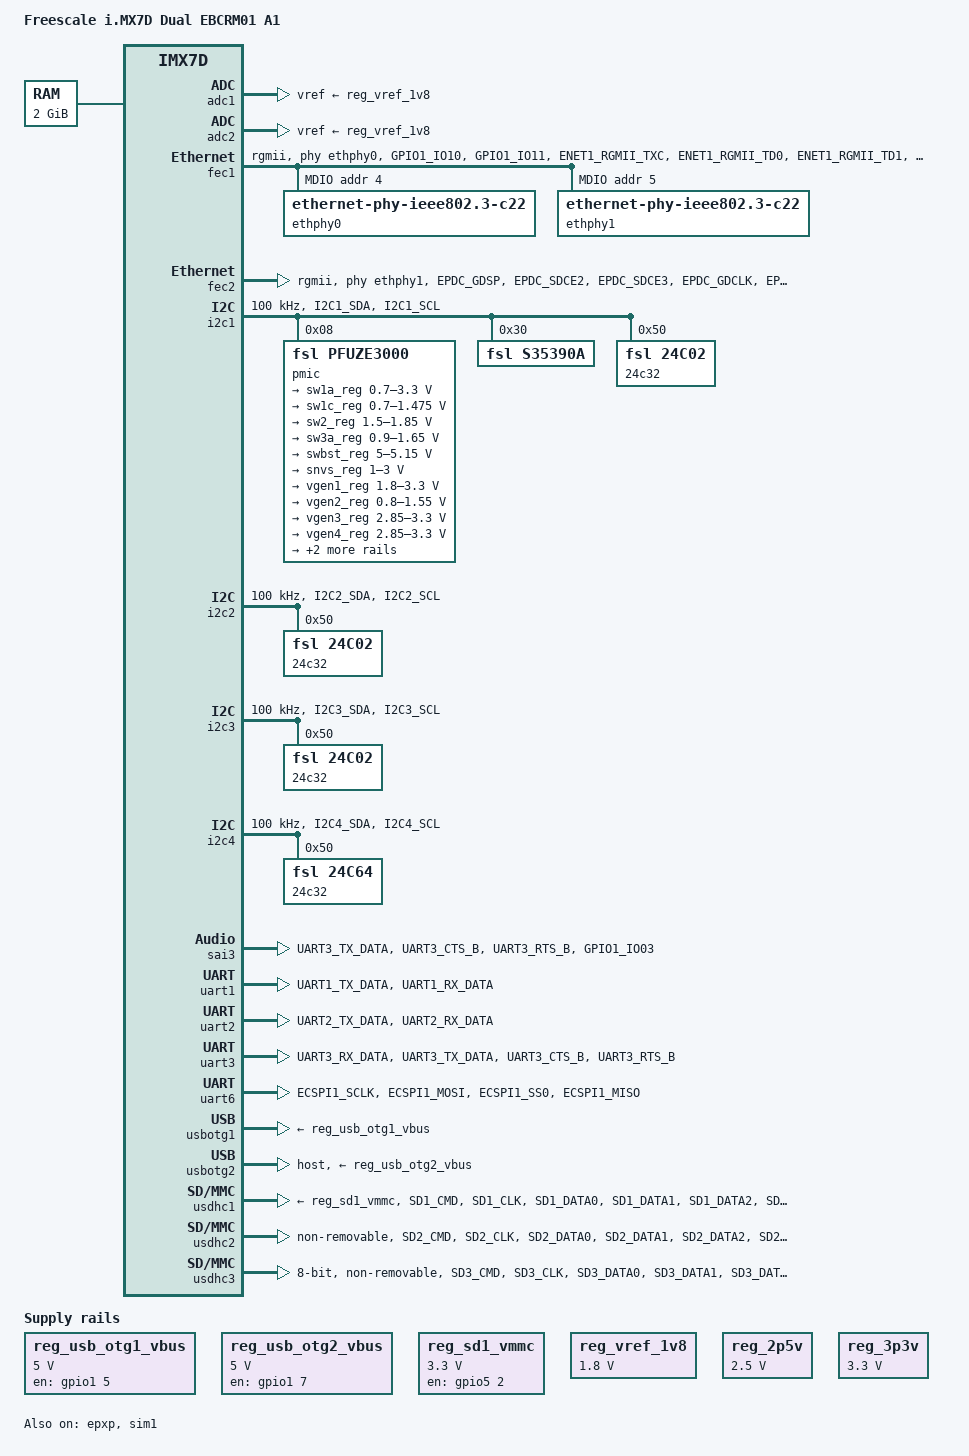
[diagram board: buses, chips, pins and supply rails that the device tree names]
/*
 * Copyright (C) 2015 Freescale Semiconductor, Inc.
 *
 * This program is free software; you can redistribute it and/or modify
 * it under the terms of the GNU General Public License version 2 as
 * published by the Free Software Foundation.
 */

/dts-v1/;

#include <dt-bindings/input/input.h>
#include "imx7d.dtsi"

/ {
	model = "Freescale i.MX7D Dual EBCRM01 A1";
	compatible = "fsl,imx7d-sdb", "fsl,imx7d";

	board {
		compatible = "proc-board";
		board-type = "EBC-RM01 A1";
		board-cpu = "DualQuad";
	};

	memory {
		reg = <0x80000000 0x80000000>;
	};

/*
	bcmdhd_wlan_0: bcmdhd_wlan@0 {
		compatible = "android,bcmdhd_wlan";
		gpios = <&gpio4 20 0>;		//WL_HOST_WAKE
		wlreg_on-supply = <&wlreg_on>;
	};
*/

/*
	spi4 {
		compatible = "spi-gpio";
		pinctrl-names = "default";
		pinctrl-0 = <&pinctrl_spi1>;
		status = "okay";
		gpio-sck = <&gpio1 13 0>;
		// gpio-mosi = <&gpio1 9 0>;
		cs-gpios = <&gpio1 12 0>;
		num-chipselects = <1>;
		#address-cells = <1>;
		#size-cells = <0>;

		gpio_spi: gpio_spi@0 {
			compatible = "fairchild,74hc595";
			gpio-controller;
			#gpio-cells = <2>;
			reg = <0>;
			registers-number = <1>;
			registers-default = /bits/ 8 <0x74>; // Enable PERI_3V3, SENSOR_RST_B and HDMI_RST
			spi-max-frequency = <100000>;
		};
	};
*/

	regulators {
		compatible = "simple-bus";
		#address-cells = <1>;
		#size-cells = <0>;

		reg_usb_otg1_vbus: regulator@0 {
			compatible = "regulator-fixed";
			reg = <0>;
			regulator-name = "usb_otg1_vbus";
			regulator-min-microvolt = <5000000>;
			regulator-max-microvolt = <5000000>;
			gpio = <&gpio1 5 GPIO_ACTIVE_HIGH>;
			enable-active-high;
		};

		reg_usb_otg2_vbus: regulator@1 {
			compatible = "regulator-fixed";
			reg = <1>;
			regulator-name = "usb_otg2_vbus";
			regulator-min-microvolt = <5000000>;
			regulator-max-microvolt = <5000000>;
			gpio = <&gpio1 7 GPIO_ACTIVE_HIGH>;
			enable-active-high;
		};

		reg_sd1_vmmc: regulator@3 {
			compatible = "regulator-fixed";
			regulator-name = "VDD_SD1";
			regulator-min-microvolt = <3300000>;
			regulator-max-microvolt = <3300000>;
			gpio = <&gpio5 2 GPIO_ACTIVE_HIGH>;
			startup-delay-us = <200000>;
			enable-active-high;
		};

		reg_vref_1v8: regulator@5 {
			compatible = "regulator-fixed";
			reg = <5>;
			regulator-name = "vref-1v8";
			regulator-min-microvolt = <1800000>;
			regulator-max-microvolt = <1800000>;
		};

/*
		wlreg_on: fixedregulator@100 {
			compatible = "regulator-fixed";
			regulator-min-microvolt = <5000000>;
			regulator-max-microvolt = <5000000>;
			regulator-name = "wlreg_on";
			gpio = <&gpio4 21 GPIO_ACTIVE_HIGH>;
			startup-delay-us = <100>;
			enable-active-high;
		};
*/
		reg_2p5v: 2p5v {
			compatible = "regulator-fixed";
			regulator-name = "2P5V";
			regulator-min-microvolt = <2500000>;
			regulator-max-microvolt = <2500000>;
			regulator-always-on;
		};

		reg_3p3v: 3p3v {
			compatible = "regulator-fixed";
			regulator-name = "3P3V";
			regulator-min-microvolt = <3300000>;
			regulator-max-microvolt = <3300000>;
			regulator-always-on;
		};
	};

/*
	audio_sgtl5000: sound {
		compatible = "fsl,sgtl5000",
			     "fsl,imx-audio-sgtl5000";
		model = "sgtl5000";
		//ssi-controller = <&ssi2>; //need to modify
		audio-routing =
			"MIC_IN", "Mic Jack",
			"Mic Jack", "Mic Bias",
			"Headphone Jack", "HP_OUT";
		mux-int-port = <2>;
		mux-ext-port = <3>;
	};
*/

/*
	gpio_direction {
		pinctrl-names = "default";
		compatible = "gpio-set-direction";
		pinctrl-0 = <&pinctrl_gpioctrl>;
		gpio-resetcb = <&gpio1 9 1>;
		gpio-gpio0 = <&gpio1 12 0>;
		gpio-gpio1 = <&gpio1 13 0>;
		//status = "okay";
		status = "disabled";
	};
*/
};

/*
//need to modify
&ssi2 {
	status = "okay";
};
*/

/*
&audio_sgtl5000 {
	audio-codec = <&codec>;
};
*/

&adc1 {
	vref-supply = <&reg_vref_1v8>;
	status = "okay";
};

&adc2 {
	vref-supply = <&reg_vref_1v8>;
	status = "okay";
};

&cpu0 {
	arm-supply = <&sw1a_reg>;
};

&clks {
	assigned-clocks = <&clks IMX7D_PLL_AUDIO_POST_DIV>;
	assigned-clock-rates = <884736000>;
};

&epxp {
	status = "okay";
};

&ecspi3 {
	fsl,spi-num-chipselects = <1>;
	pinctrl-names = "default";
	pinctrl-0 = <&pinctrl_ecspi3 &pinctrl_ecspi3_cs>;
	cs-gpios = <&gpio5 9 0>;
	/* status = "okay"; */
	status = "disabled";

	tsc2046 {
		compatible = "ti,tsc2046";
		reg = <0>;
		spi-max-frequency = <1000000>;
		pinctrl-names ="default";
		pinctrl-0 = <&pinctrl_tsc2046_pendown>;
		interrupt-parent = <&gpio2>;
		interrupts = <29 0>;
		pendown-gpio = <&gpio2 29 0>;
		ti,x-min = /bits/ 16 <0>;
		ti,x-max = /bits/ 16 <0>;
		ti,y-min = /bits/ 16 <0>;
		ti,y-max = /bits/ 16 <0>;
		ti,pressure-max = /bits/ 16 <0>;
		ti,x-plat-ohms = /bits/ 16 <400>;
		linux,wakeup;
	};
};

&fec1 {
	pinctrl-names = "default";
	pinctrl-0 = <&pinctrl_enet1 &pinctrl_enet1_rst_1>;
	// pinctrl-assert-gpios = <&gpio_spi 5 GPIO_ACTIVE_HIGH>;
	pinctrl-assert-gpios = <&gpio2 28 GPIO_ACTIVE_HIGH>;
	assigned-clocks = <&clks IMX7D_ENET1_TIME_ROOT_SRC>,
			  <&clks IMX7D_ENET1_TIME_ROOT_CLK>;
	assigned-clock-parents = <&clks IMX7D_PLL_ENET_MAIN_100M_CLK>;
	assigned-clock-rates = <0>, <100000000>;
	phy-mode = "rgmii";
	phy-handle = <&ethphy0>;
	fsl,magic-packet;
	status = "okay";

	mdio {
		#address-cells = <1>;
		#size-cells = <0>;

		ethphy0: ethernet-phy@4 {
			compatible = "ethernet-phy-ieee802.3-c22";
			reg = <4>;
		};

		ethphy1: ethernet-phy@5 {
			compatible = "ethernet-phy-ieee802.3-c22";
			reg = <5>;
		};
	};
};

&fec2 {
	pinctrl-names = "default";
	//pinctrl-0 = <&pinctrl_enet2 &pinctrl_enet2_epdc0_en>;
	pinctrl-0 = <&pinctrl_enet2>;
	//pinctrl-assert-gpios = <&gpio1 4 GPIO_ACTIVE_LOW>;
	assigned-clocks = <&clks IMX7D_ENET2_TIME_ROOT_SRC>,
			  <&clks IMX7D_ENET2_TIME_ROOT_CLK>;
	assigned-clock-parents = <&clks IMX7D_PLL_ENET_MAIN_100M_CLK>;
	assigned-clock-rates = <0>, <100000000>;
	phy-mode = "rgmii";
	phy-handle = <&ethphy1>;
	fsl,magic-packet;
	status = "okay";
};

&i2c1 {
	clock-frequency = <100000>;
	pinctrl-names = "default";
	pinctrl-0 = <&pinctrl_i2c1>;
	status = "okay";

	pmic: pfuze3000@08 {
		compatible = "fsl,pfuze3000";
		reg = <0x08>;

		regulators {
			sw1a_reg: sw1a {
				regulator-min-microvolt = <700000>;
				regulator-max-microvolt = <3300000>;
				regulator-boot-on;
				regulator-always-on;
				regulator-ramp-delay = <6250>;
			};

			/* use sw1c_reg to align with pfuze100/pfuze200 */
			sw1c_reg: sw1b {
				regulator-min-microvolt = <700000>;
				regulator-max-microvolt = <1475000>;
				regulator-boot-on;
				regulator-always-on;
				regulator-ramp-delay = <6250>;
			};

			sw2_reg: sw2 {
				regulator-min-microvolt = <1500000>;
				regulator-max-microvolt = <1850000>;
				regulator-boot-on;
				regulator-always-on;
			};

			sw3a_reg: sw3 {
				regulator-min-microvolt = <900000>;
				regulator-max-microvolt = <1650000>;
				regulator-boot-on;
				regulator-always-on;
			};

			swbst_reg: swbst {
				regulator-min-microvolt = <5000000>;
				regulator-max-microvolt = <5150000>;
			};

			snvs_reg: vsnvs {
				regulator-min-microvolt = <1000000>;
				regulator-max-microvolt = <3000000>;
				regulator-boot-on;
				regulator-always-on;
			};

			vref_reg: vrefddr {
				regulator-boot-on;
				regulator-always-on;
			};

			vgen1_reg: vldo1 {
				regulator-min-microvolt = <1800000>;
				regulator-max-microvolt = <3300000>;
				regulator-always-on;
			};

			vgen2_reg: vldo2 {
				regulator-min-microvolt = <800000>;
				regulator-max-microvolt = <1550000>;
				regulator-always-on;
			};

			vgen3_reg: vccsd {
				regulator-min-microvolt = <2850000>;
				regulator-max-microvolt = <3300000>;
				regulator-always-on;
			};

			vgen4_reg: v33 {
				regulator-min-microvolt = <2850000>;
				regulator-max-microvolt = <3300000>;
				regulator-always-on;
			};

			vgen5_reg: vldo3 {
				regulator-min-microvolt = <1800000>;
				regulator-max-microvolt = <3300000>;
				regulator-always-on;
			};

			vgen6_reg: vldo4 {
				regulator-min-microvolt = <1800000>;
				regulator-max-microvolt = <3300000>;
				regulator-always-on;
			};
		};
	};

/*
	codec: sgtl5000@0a {
		compatible = "fsl,sgtl5000";
		reg = <0x0a>;
		clocks = <&clks 201>;
		VDDA-supply = <&reg_2p5v>;
		VDDIO-supply = <&reg_3p3v>;
		mclk = <16000000>;
		mclk_source = <0>;
	};
*/

	s35390a@30 {
		compatible = "fsl,s35390a";
		reg = <0x30>;
	};

	24c32@50 {
		compatible = "fsl,24c02";
		reg = <0x50>;
	};
};

&i2c2 {
	clock-frequency = <100000>;
	pinctrl-names = "default";
	pinctrl-0 = <&pinctrl_i2c2>;
	status = "okay";

	24c32@50 {
		compatible = "fsl,24c02";
		reg = <0x50>;
	};
};

&i2c3 {
	clock-frequency = <100000>;
	pinctrl-names = "default";
	pinctrl-0 = <&pinctrl_i2c3>;
	status = "okay";

	24c32@50 {
		compatible = "fsl,24c02";
		reg = <0x50>;
	};
};

&i2c4 {
	clock-frequency = <100000>;
	pinctrl-names = "default";
	pinctrl-0 = <&pinctrl_i2c4>;
	status = "okay";

	24c32@50 {
		compatible = "fsl,24c64";
		pagesize = <32>;
		reg = <0x50>;
	};
};

&gpmi {
	pinctrl-names = "default";
	pinctrl-0 = <&pinctrl_gpmi_nand_1>;
	status = "disabled";
	nand-on-flash-bbt;
};

&iomuxc {
	pinctrl-names = "default";
	pinctrl-0 = <&pinctrl_hog_1 &pinctrl_hog_3>;

	imx7d-sdb {
		pinctrl_hog_1: hoggrp-1 {
			fsl,pins = <
				/* MX7D_PAD_ECSPI2_SS0__GPIO4_IO23	  0x19 */ /* BT_REG_ON */
				MX7D_PAD_ENET1_RX_CLK__GPIO7_IO13 0x59 /* WDT Enable */
				MX7D_PAD_ENET1_CRS__GPIO7_IO14 	  0x59 /* WDT Reset */
			>;
		};

		pinctrl_hog_3: hoggrp-3 { //alex
			fsl,pins = <
				MX7D_PAD_GPIO1_IO12__GPIO1_IO12		0x59	/* GPIO0 - GPIO0 */
				MX7D_PAD_GPIO1_IO13__GPIO1_IO13		0x59	/* GPIO1 - GPIO1 */
				MX7D_PAD_GPIO1_IO14__GPIO1_IO14		0x59	/* GPIO2 - GPIO2 */
				MX7D_PAD_GPIO1_IO15__GPIO1_IO15		0x59	/* GPIO3 - GPIO3 */
				/* GPIO4 - BOOT_CFG04 */
				/* GPIO5 - BOOT_CFG05 */
				/* GPIO6 - BOOT_CFG06 */
				MX7D_PAD_ECSPI2_SCLK__GPIO4_IO20	0x59	/* GPIO7  - GPIO7 */
				MX7D_PAD_ECSPI2_MISO__GPIO4_IO22	0x59	/* GPIO8  - GPIO8 */
				MX7D_PAD_ECSPI2_MOSI__GPIO4_IO21	0x59	/* GPIO9  - GPIO9 */
				MX7D_PAD_ECSPI2_SS0__GPIO4_IO23		0x59	/* GPIO10 - GPIO10 */
				/* GPIO11 - BOOT_CFG11 */
			>;
		};

/*
		pinctrl_epdc_elan_touch: epdc_elan_touch_grp {
			fsl,pins = <
				MX7D_PAD_SAI1_RX_DATA__GPIO6_IO12 0x59
				MX7D_PAD_SAI1_TX_DATA__GPIO6_IO15 0x1b
				MX7D_PAD_SAI1_TX_BCLK__GPIO6_IO13 0x80000000
			>;
		};

		pinctrl_mipi_dsi_reset: mipi_dsi_reset_grp {
			fsl,pins = <
				MX7D_PAD_SAI1_TX_DATA__GPIO6_IO15 0x1b
			>;
		};
*/

		pinctrl_ecspi3_cs: ecspi3_cs_grp {
			fsl,pins = <
				MX7D_PAD_SD2_CD_B__GPIO5_IO9	0x80000000
			>;
		};

		pinctrl_ecspi3: ecspi3grp {
			fsl,pins = <
				MX7D_PAD_SAI2_TX_SYNC__ECSPI3_MISO	0x2
				MX7D_PAD_SAI2_TX_BCLK__ECSPI3_MOSI	0x2
				MX7D_PAD_SAI2_RX_DATA__ECSPI3_SCLK	0x2
			>;
		};

		pinctrl_enet1: enet1grp {
			fsl,pins = <
				MX7D_PAD_GPIO1_IO10__ENET1_MDIO		0x3
				MX7D_PAD_GPIO1_IO11__ENET1_MDC		0x3
				MX7D_PAD_ENET1_RGMII_TXC__ENET1_RGMII_TXC	0x1
				MX7D_PAD_ENET1_RGMII_TD0__ENET1_RGMII_TD0	0x1
				MX7D_PAD_ENET1_RGMII_TD1__ENET1_RGMII_TD1	0x1
				MX7D_PAD_ENET1_RGMII_TD2__ENET1_RGMII_TD2	0x1
				MX7D_PAD_ENET1_RGMII_TD3__ENET1_RGMII_TD3	0x1
				MX7D_PAD_ENET1_RGMII_TX_CTL__ENET1_RGMII_TX_CTL	0x1
				MX7D_PAD_ENET1_RGMII_RXC__ENET1_RGMII_RXC	0x1
				MX7D_PAD_ENET1_RGMII_RD0__ENET1_RGMII_RD0	0x1
				MX7D_PAD_ENET1_RGMII_RD1__ENET1_RGMII_RD1	0x1
				MX7D_PAD_ENET1_RGMII_RD2__ENET1_RGMII_RD2	0x1
				MX7D_PAD_ENET1_RGMII_RD3__ENET1_RGMII_RD3	0x1
				MX7D_PAD_ENET1_RGMII_RX_CTL__ENET1_RGMII_RX_CTL	0x1
			>;
		};

		pinctrl_enet1_rst_1: enet1_rstgrp-1 {
			fsl,pins = <
				MX7D_PAD_EPDC_BDR0__GPIO2_IO28	0x59 /* RGMII_RST# */
			>;
		};

		pinctrl_enet2: enet2grp {
			fsl,pins = <
				MX7D_PAD_EPDC_GDSP__ENET2_RGMII_TXC		0x1
				MX7D_PAD_EPDC_SDCE2__ENET2_RGMII_TD0		0x1
				MX7D_PAD_EPDC_SDCE3__ENET2_RGMII_TD1		0x1
				MX7D_PAD_EPDC_GDCLK__ENET2_RGMII_TD2		0x1
				MX7D_PAD_EPDC_GDOE__ENET2_RGMII_TD3		0x1
				MX7D_PAD_EPDC_GDRL__ENET2_RGMII_TX_CTL		0x1
				MX7D_PAD_EPDC_SDCE1__ENET2_RGMII_RXC		0x1
				MX7D_PAD_EPDC_SDCLK__ENET2_RGMII_RD0		0x1
				MX7D_PAD_EPDC_SDLE__ENET2_RGMII_RD1		0x1
				MX7D_PAD_EPDC_SDOE__ENET2_RGMII_RD2		0x1
				MX7D_PAD_EPDC_SDSHR__ENET2_RGMII_RD3		0x1
				MX7D_PAD_EPDC_SDCE0__ENET2_RGMII_RX_CTL		0x1
			>;
		};

		pinctrl_gpmi_nand_1: gpmi-nand-1 {
			fsl,pins = <
				MX7D_PAD_SD3_CLK__NAND_CLE			0x71
				MX7D_PAD_SD3_CMD__NAND_ALE			0x71
				MX7D_PAD_SAI1_MCLK__NAND_WP_B		0x71
				MX7D_PAD_SAI1_TX_BCLK__NAND_CE0_B	0x71
				MX7D_PAD_SAI1_RX_DATA__NAND_CE1_B	0x71
				MX7D_PAD_SAI1_TX_DATA__NAND_READY_B	0x74
				MX7D_PAD_SD3_STROBE__NAND_RE_B		0x71
				MX7D_PAD_SD3_RESET_B__NAND_WE_B		0x71
				MX7D_PAD_SD3_DATA0__NAND_DATA00		0x71
				MX7D_PAD_SD3_DATA1__NAND_DATA01		0x71
				MX7D_PAD_SD3_DATA2__NAND_DATA02		0x71
				MX7D_PAD_SD3_DATA3__NAND_DATA03		0x71
				MX7D_PAD_SD3_DATA4__NAND_DATA04		0x71
				MX7D_PAD_SD3_DATA5__NAND_DATA05		0x71
				MX7D_PAD_SD3_DATA6__NAND_DATA06		0x71
				MX7D_PAD_SD3_DATA7__NAND_DATA07		0x71
			>;
		};

		pinctrl_i2c1: i2c1grp {
			fsl,pins = <
				MX7D_PAD_I2C1_SDA__I2C1_SDA	0x4000007f
				MX7D_PAD_I2C1_SCL__I2C1_SCL	0x4000007f
			>;
		};

		pinctrl_i2c2: i2c2grp {
			fsl,pins = <
				MX7D_PAD_I2C2_SDA__I2C2_SDA	0x4000007f
				MX7D_PAD_I2C2_SCL__I2C2_SCL	0x4000007f
			>;
		};

		pinctrl_i2c3: i2c3grp {
			fsl,pins = <
				MX7D_PAD_I2C3_SDA__I2C3_SDA	0x4000007f
				MX7D_PAD_I2C3_SCL__I2C3_SCL	0x4000007f
			>;
		};

		pinctrl_i2c4: i2c4grp {
			fsl,pins = <
				MX7D_PAD_I2C4_SDA__I2C4_SDA	0x4000007f
				MX7D_PAD_I2C4_SCL__I2C4_SCL	0x4000007f
			>;
		};

		pinctrl_sai1: sai1grp {
			fsl,pins = <
				MX7D_PAD_SAI1_MCLK__SAI1_MCLK           0x1f
				MX7D_PAD_ENET1_RX_CLK__SAI1_TX_BCLK     0x1f
				MX7D_PAD_ENET1_CRS__SAI1_TX_SYNC	0x1f
				MX7D_PAD_ENET1_COL__SAI1_TX_DATA0	0x30
				MX7D_PAD_ENET1_TX_CLK__SAI1_RX_DATA0	0x1f
			>;
		};

		pinctrl_sai2: sai2grp {
			fsl,pins = <
				MX7D_PAD_SAI2_TX_BCLK__SAI2_TX_BCLK     0x1f
				MX7D_PAD_SAI2_TX_SYNC__SAI2_TX_SYNC     0x1f
				MX7D_PAD_SAI2_TX_DATA__SAI2_TX_DATA0    0x30
				MX7D_PAD_SAI2_RX_DATA__SAI2_RX_DATA0    0x1f
			>;
		};

		pinctrl_sai3: sai3grp {
			fsl,pins = <
				MX7D_PAD_UART3_TX_DATA__SAI3_TX_BCLK   0x1f
				MX7D_PAD_UART3_CTS_B__SAI3_TX_SYNC     0x1f
				MX7D_PAD_UART3_RTS_B__SAI3_TX_DATA0    0x30
			>;
		};

/*
		pinctrl_spi1: spi1grp {
			fsl,pins = <
				MX7D_PAD_GPIO1_IO09__GPIO1_IO9	0x59
				MX7D_PAD_GPIO1_IO12__GPIO1_IO12	0x59
				MX7D_PAD_GPIO1_IO13__GPIO1_IO13	0x59
			>;
		};
*/

		pinctrl_sii902x: hdmigrp-1 {
			fsl,pins = <
				MX7D_PAD_EPDC_DATA13__GPIO2_IO13 0x59
			>;
		};

		pinctrl_sim1_1: sim1grp-1 {
			fsl,pins = <
				MX7D_PAD_EPDC_DATA10__SIM1_PORT1_RST_B 0x77
				MX7D_PAD_EPDC_DATA12__SIM1_PORT1_PD    0x77
				MX7D_PAD_EPDC_DATA11__SIM1_PORT1_SVEN  0x77
				MX7D_PAD_EPDC_DATA09__SIM1_PORT1_CLK   0x73
				MX7D_PAD_EPDC_DATA08__SIM1_PORT1_TRXD  0x73
			>;
		};

		pinctrl_tsc2046_pendown: tsc2046_pendown {
			fsl,pins = <
				MX7D_PAD_EPDC_BDR1__GPIO2_IO29		0x59
			>;
		};

		pinctrl_uart1: uart1grp {
			fsl,pins = <
				MX7D_PAD_UART1_TX_DATA__UART1_DCE_TX 0x79
				MX7D_PAD_UART1_RX_DATA__UART1_DCE_RX 0x79
			>;
		};

		pinctrl_uart2: uart2grp {
			fsl,pins = <
				MX7D_PAD_UART2_TX_DATA__UART2_DCE_TX 0x79
				MX7D_PAD_UART2_RX_DATA__UART2_DCE_RX 0x79
			>;
		};

		pinctrl_uart3: uart3grp {
			fsl,pins = <
				MX7D_PAD_UART3_RX_DATA__UART3_DCE_RX 0x79
				MX7D_PAD_UART3_TX_DATA__UART3_DCE_TX 0x79
				MX7D_PAD_UART3_CTS_B__UART3_DCE_CTS  0x79
				MX7D_PAD_UART3_RTS_B__UART3_DCE_RTS  0x79
			>;
		};

		pinctrl_uart6: uart6grp {
			fsl,pins = <
				MX7D_PAD_ECSPI1_SCLK__UART6_DCE_RX 0x79
				MX7D_PAD_ECSPI1_MOSI__UART6_DCE_TX 0x79
				MX7D_PAD_ECSPI1_SS0__UART6_DCE_CTS 0x79
				MX7D_PAD_ECSPI1_MISO__UART6_DCE_RTS 0x79
			>;
		};

		pinctrl_usdhc1_gpio: usdhc1_gpiogrp {
			fsl,pins = <
				MX7D_PAD_SD1_CD_B__GPIO5_IO0		0x59 /* CD */
				MX7D_PAD_SD1_WP__GPIO5_IO1		0x59 /* WP */
				MX7D_PAD_SD1_RESET_B__GPIO5_IO2		0x59 /* vmmc */
				MX7D_PAD_GPIO1_IO08__SD1_VSELECT	0x59 /* VSELECT */
			>;
		};

		pinctrl_usbotg2_pwr_1: usbotg2-1 {
			fsl,pins = <
				MX7D_PAD_UART3_CTS_B__GPIO4_IO7	0x14
			>;
		};

		pinctrl_usdhc1: usdhc1grp {
			fsl,pins = <
				MX7D_PAD_SD1_CMD__SD1_CMD		0x59
				MX7D_PAD_SD1_CLK__SD1_CLK		0x19
				MX7D_PAD_SD1_DATA0__SD1_DATA0		0x59
				MX7D_PAD_SD1_DATA1__SD1_DATA1		0x59
				MX7D_PAD_SD1_DATA2__SD1_DATA2		0x59
				MX7D_PAD_SD1_DATA3__SD1_DATA3		0x59
			>;
		};

		pinctrl_usdhc1_100mhz: usdhc1grp_100mhz {
			fsl,pins = <
				MX7D_PAD_SD1_CMD__SD1_CMD		0x5a
				MX7D_PAD_SD1_CLK__SD1_CLK		0x1a
				MX7D_PAD_SD1_DATA0__SD1_DATA0		0x5a
				MX7D_PAD_SD1_DATA1__SD1_DATA1		0x5a
				MX7D_PAD_SD1_DATA2__SD1_DATA2		0x5a
				MX7D_PAD_SD1_DATA3__SD1_DATA3		0x5a
			>;
		};

		pinctrl_usdhc1_200mhz: usdhc1grp_200mhz {
			fsl,pins = <
				MX7D_PAD_SD1_CMD__SD1_CMD		0x5b
				MX7D_PAD_SD1_CLK__SD1_CLK		0x1b
				MX7D_PAD_SD1_DATA0__SD1_DATA0		0x5b
				MX7D_PAD_SD1_DATA1__SD1_DATA1		0x5b
				MX7D_PAD_SD1_DATA2__SD1_DATA2		0x5b
				MX7D_PAD_SD1_DATA3__SD1_DATA3		0x5b
			>;
		};

		pinctrl_usdhc2: usdhc2grp {
			fsl,pins = <
				MX7D_PAD_SD2_CMD__SD2_CMD       0x59
				MX7D_PAD_SD2_CLK__SD2_CLK       0x19
				MX7D_PAD_SD2_DATA0__SD2_DATA0   0x59
				MX7D_PAD_SD2_DATA1__SD2_DATA1   0x59
				MX7D_PAD_SD2_DATA2__SD2_DATA2   0x59
				MX7D_PAD_SD2_DATA3__SD2_DATA3   0x59
				/* MX7D_PAD_ECSPI2_MOSI__GPIO4_IO21 0x19 */ /* WL_REG_ON */
				/* MX7D_PAD_ECSPI2_SCLK__GPIO4_IO20 0x19 */ /* WL_HOST_WAKE */
			>;
		};

		pinctrl_usdhc2_100mhz: usdhc2grp_100mhz {
			fsl,pins = <
				MX7D_PAD_SD2_CMD__SD2_CMD       0x5a
				MX7D_PAD_SD2_CLK__SD2_CLK       0x1a
				MX7D_PAD_SD2_DATA0__SD2_DATA0   0x5a
				MX7D_PAD_SD2_DATA1__SD2_DATA1   0x5a
				MX7D_PAD_SD2_DATA2__SD2_DATA2   0x5a
				MX7D_PAD_SD2_DATA3__SD2_DATA3   0x5a
			>;
		};

		pinctrl_usdhc2_200mhz: usdhc2grp_200mhz {
			fsl,pins = <
				MX7D_PAD_SD2_CMD__SD2_CMD       0x5b
				MX7D_PAD_SD2_CLK__SD2_CLK       0x1b
				MX7D_PAD_SD2_DATA0__SD2_DATA0   0x5b
				MX7D_PAD_SD2_DATA1__SD2_DATA1   0x5b
				MX7D_PAD_SD2_DATA2__SD2_DATA2   0x5b
				MX7D_PAD_SD2_DATA3__SD2_DATA3   0x5b
			>;
		};

		pinctrl_usdhc3: usdhc3grp {
			fsl,pins = <
				MX7D_PAD_SD3_CMD__SD3_CMD		0x59
				MX7D_PAD_SD3_CLK__SD3_CLK		0x19
				MX7D_PAD_SD3_DATA0__SD3_DATA0		0x59
				MX7D_PAD_SD3_DATA1__SD3_DATA1		0x59
				MX7D_PAD_SD3_DATA2__SD3_DATA2		0x59
				MX7D_PAD_SD3_DATA3__SD3_DATA3		0x59
				MX7D_PAD_SD3_DATA4__SD3_DATA4		0x59
				MX7D_PAD_SD3_DATA5__SD3_DATA5		0x59
				MX7D_PAD_SD3_DATA6__SD3_DATA6		0x59
				MX7D_PAD_SD3_DATA7__SD3_DATA7		0x59
				MX7D_PAD_SD3_STROBE__SD3_STROBE         0x19
			>;
		};

		pinctrl_usdhc3_100mhz: usdhc3grp_100mhz {
			fsl,pins = <
				MX7D_PAD_SD3_CMD__SD3_CMD		0x5a
				MX7D_PAD_SD3_CLK__SD3_CLK		0x1a
				MX7D_PAD_SD3_DATA0__SD3_DATA0		0x5a
				MX7D_PAD_SD3_DATA1__SD3_DATA1		0x5a
				MX7D_PAD_SD3_DATA2__SD3_DATA2		0x5a
				MX7D_PAD_SD3_DATA3__SD3_DATA3		0x5a
				MX7D_PAD_SD3_DATA4__SD3_DATA4		0x5a
				MX7D_PAD_SD3_DATA5__SD3_DATA5		0x5a
				MX7D_PAD_SD3_DATA6__SD3_DATA6		0x5a
				MX7D_PAD_SD3_DATA7__SD3_DATA7		0x5a
				MX7D_PAD_SD3_STROBE__SD3_STROBE         0x1a
			>;
		};

		pinctrl_usdhc3_200mhz: usdhc3grp_200mhz {
			fsl,pins = <
				MX7D_PAD_SD3_CMD__SD3_CMD		0x5b
				MX7D_PAD_SD3_CLK__SD3_CLK		0x1b
				MX7D_PAD_SD3_DATA0__SD3_DATA0		0x5b
				MX7D_PAD_SD3_DATA1__SD3_DATA1		0x5b
				MX7D_PAD_SD3_DATA2__SD3_DATA2		0x5b
				MX7D_PAD_SD3_DATA3__SD3_DATA3		0x5b
				MX7D_PAD_SD3_DATA4__SD3_DATA4		0x5b
				MX7D_PAD_SD3_DATA5__SD3_DATA5		0x5b
				MX7D_PAD_SD3_DATA6__SD3_DATA6		0x5b
				MX7D_PAD_SD3_DATA7__SD3_DATA7		0x5b
				MX7D_PAD_SD3_STROBE__SD3_STROBE         0x1b
			>;
		};

/*
		pinctrl_gpioctrl: gpioctrlgrp {
			fsl,pins = <
				MX7D_PAD_GPIO1_IO09__GPIO1_IO9	0x59
				MX7D_PAD_GPIO1_IO12__GPIO1_IO12	0x59
				MX7D_PAD_GPIO1_IO13__GPIO1_IO13	0x59
			>;
		};
*/
	};
};

/*
&pcie {
	pinctrl-names = "default";
	reset-gpio = <&gpio_spi 1 GPIO_ACTIVE_LOW>;
	disable-gpio = <&gpio_spi 0 GPIO_ACTIVE_LOW>;
	status = "okay";
};
*/

&sai3 {
	pinctrl-names = "default";
	pinctrl-0 = <&pinctrl_sai3 &pinctrl_sai3_mclk>;
	assigned-clocks = <&clks IMX7D_SAI3_ROOT_SRC>,
			  <&clks IMX7D_SAI3_ROOT_CLK>;
	assigned-clock-parents = <&clks IMX7D_PLL_AUDIO_POST_DIV>;
	assigned-clock-rates = <0>, <36864000>;
	status = "okay";
};

&sdma {
	status = "okay";
};

&iomuxc_lpsr {
	pinctrl-names = "default";
	pinctrl-0 = <&pinctrl_hog_2 &pinctrl_usbotg2_pwr_2>;

	imx7d-sdb {
		pinctrl_hog_2: hoggrp-2 {
			fsl,pins = <
				MX7D_PAD_GPIO1_IO05__GPIO1_IO5	  0x14
			>;
		};

		pinctrl_usbotg2_pwr_2: usbotg2-2 {
			fsl,pins = <
				MX7D_PAD_GPIO1_IO07__GPIO1_IO7 0x14
			>;
		};

		pinctrl_wdog: wdoggrp {
			fsl,pins = <
				MX7D_PAD_GPIO1_IO00__WDOD1_WDOG_B 0x74
			>;
		};

		pinctrl_sai3_mclk: sai3grp_mclk {
			fsl,pins = <
				MX7D_PAD_GPIO1_IO03__SAI3_MCLK         0x1f
			>;
		};
	};
};

&sim1 {
	pinctrl-names = "default";
	pinctrl-0 = <&pinctrl_sim1_1>;
	port = <0>;
	sven_low_active;
	status = "okay";
};


&uart1 {
	pinctrl-names = "default";
	pinctrl-0 = <&pinctrl_uart1>;
	assigned-clocks = <&clks IMX7D_UART1_ROOT_SRC>;
	assigned-clock-parents = <&clks IMX7D_OSC_24M_CLK>;
	status = "okay";
};

&uart2 {
	pinctrl-names = "default";
	pinctrl-0 = <&pinctrl_uart2>;
	assigned-clocks = <&clks IMX7D_UART2_ROOT_CLK>;
	assigned-clock-parents = <&clks IMX7D_OSC_24M_CLK>;
	status = "okay";
};

&uart3 {
	pinctrl-names = "default";
	pinctrl-0 = <&pinctrl_uart3>;
	assigned-clocks = <&clks IMX7D_UART3_ROOT_CLK>;
	assigned-clock-parents = <&clks IMX7D_PLL_SYS_MAIN_240M_CLK>;
	fsl,uart-has-rtscts;
	status = "okay";
};

&uart6 {
	pinctrl-names = "default";
	pinctrl-0 = <&pinctrl_uart6>;
	assigned-clocks = <&clks IMX7D_UART6_ROOT_SRC>;
	assigned-clock-parents = <&clks IMX7D_PLL_SYS_MAIN_240M_CLK>;
	fsl,uart-has-rtscts;
	status = "okay";
};

&usbotg1 {
	vbus-supply = <&reg_usb_otg1_vbus>;
	srp-disable;
	hnp-disable;
	adp-disable;
	status = "okay";
};

&usbotg2 {
	vbus-supply = <&reg_usb_otg2_vbus>;
	dr_mode = "host";
	status = "okay";
};

&usdhc1 {
	pinctrl-names = "default", "state_100mhz", "state_200mhz";
	pinctrl-0 = <&pinctrl_usdhc1>, <&pinctrl_usdhc1_gpio>;
	pinctrl-1 = <&pinctrl_usdhc1_100mhz>, <&pinctrl_usdhc1_gpio>;
	pinctrl-2 = <&pinctrl_usdhc1_200mhz>, <&pinctrl_usdhc1_gpio>;
	cd-gpios = <&gpio5 0 GPIO_ACTIVE_LOW>;
	wp-gpios = <&gpio5 1 GPIO_ACTIVE_HIGH>;
	vmmc-supply = <&reg_sd1_vmmc>;
	enable-sdio-wakeup;
	keep-power-in-suspend;
	status = "okay";
};

&usdhc2 {
	pinctrl-names = "default", "state_100mhz", "state_200mhz";
	pinctrl-0 = <&pinctrl_usdhc2>;
	pinctrl-1 = <&pinctrl_usdhc2_100mhz>;
	pinctrl-2 = <&pinctrl_usdhc2_200mhz>;
	enable-sdio-wakeup;
	keep-power-in-suspend;
	non-removable;
	cd-post;
	pm-ignore-notify;
	wifi-host;
	status = "okay";
};

&usdhc3 {
	pinctrl-names = "default", "state_100mhz", "state_200mhz";
	pinctrl-0 = <&pinctrl_usdhc3>;
	pinctrl-1 = <&pinctrl_usdhc3_100mhz>;
	pinctrl-2 = <&pinctrl_usdhc3_200mhz>;
	assigned-clocks = <&clks IMX7D_USDHC3_ROOT_CLK>;
	assigned-clock-rates = <400000000>;
	bus-width = <8>;
	non-removable;
	status = "okay";
};

&wdog1 {
	pinctrl-names = "default";
	pinctrl-0 = <&pinctrl_wdog>;
	fsl,wdog_b;
};
